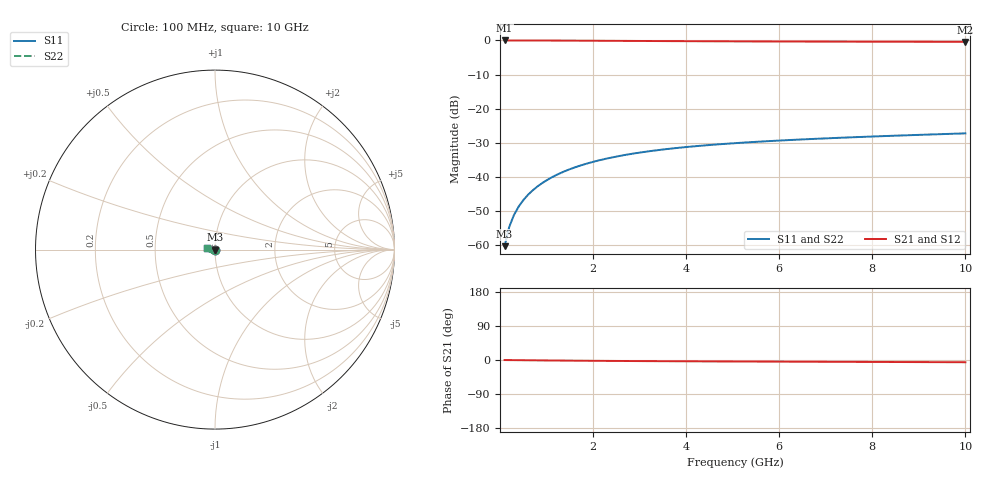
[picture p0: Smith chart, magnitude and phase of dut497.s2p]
! Touchstone file exported from HFSS 2024.1.0
!  File:  C:/UserFiles/LocalFiles/RDL_TSV_Batchsim/temp_TSV1_497_1779701143.aedt
!  Generated:  05:31:41 PM May 25, 2026
!  Design:  TSV1
!  Project:  temp_TSV1_497_1779701143
!  Setup:  Setup1
!  Solution:  Sweep
! Variables:
!  dtsv = 6.82um
!  hbump = 3um
!  htsv = 92.79um
!  lrdl = 252.1521522um
!  p = 40
!  p1 = 44.06um
!  t = 500um
!  trdl = 3um
!  wrdl = 24.89489489um
# GHz S MA R 50.000000
! Terminal data exported
! Port[1] = TSV22_T1
! Port[2] = TSV22_T2
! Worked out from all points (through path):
!   100 points, 100 MHz to 10 GHz, reference 50 ohm
!   highest |S21| = 0.00 dB at 100 MHz (marker M1); lowest = -0.4 dB at 10 GHz (marker M2)
!   lowest |S11| = -60.4 dB at 100 MHz (marker M3), VSWR 1.00, Z = 50 - j0.0905 ohm
!   |S11| at or under -10 dB: start of sweep to end of sweep
!   |S22| runs from -60.4 to -27.3 dB; largest |S21 - S12| = 5.2e-15
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0.1  0.000957 -70.9  0.9996 -0.1  0.9996 -0.1  0.000957 -70.9
! Gamma 0 0 0 0
! Port Impedance 50 0 50 0
0.2  0.001839 -82.8  0.9995 -0.2  0.9995 -0.2  0.001839 -82.8
0.3  0.002734 -88.1  0.9994 -0.4  0.9994 -0.4  0.002734 -88.1
0.4  0.003629 -91.7  0.9992 -0.5  0.9992 -0.5  0.003629 -91.7
0.5  0.00452 -94.5  0.9989 -0.6  0.9989 -0.6  0.00452 -94.5
0.6  0.005405 -97.0  0.9986 -0.7  0.9986 -0.7  0.005405 -97.0
0.7  0.006282 -99.3  0.9982 -0.8  0.9982 -0.8  0.006282 -99.3
0.8  0.007149 -101.4  0.9978 -0.9  0.9978 -0.9  0.007149 -101.4
0.9  0.008007 -103.4  0.9974 -1.0  0.9974 -1.0  0.008007 -103.4
1.1  0.009686 -107.3  0.9964 -1.3  0.9964 -1.3  0.009686 -107.3
1.4  0.0121 -112.7  0.9945 -1.6  0.9945 -1.6  0.0121 -112.7
1.6  0.01364 -116.2  0.9932 -1.8  0.9932 -1.8  0.01364 -116.2
1.8  0.01511 -119.5  0.9918 -1.9  0.9918 -1.9  0.01511 -119.5
2.1  0.0172 -124.2  0.9895 -2.2  0.9895 -2.2  0.0172 -124.2
2.5  0.01975 -130.2  0.9864 -2.5  0.9864 -2.5  0.01975 -130.2
2.9  0.02205 -135.7  0.9833 -2.8  0.9833 -2.8  0.02205 -135.7
3.4  0.0246 -142.2  0.9796 -3.1  0.9796 -3.1  0.0246 -142.1
4.2  0.02805 -151.3  0.9742 -3.5  0.9742 -3.5  0.02805 -151.3
5.1  0.03125 -160.4  0.9691 -3.9  0.9691 -3.9  0.03125 -160.4
6.7  0.0358 -173.7  0.9623 -4.6  0.9623 -4.6  0.0358 -173.7
8.4  0.03981 174.8  0.9574 -5.3  0.9574 -5.3  0.03981 174.8
10  0.04327 165.8  0.9541 -5.9  0.9541 -5.9  0.04327 165.8
